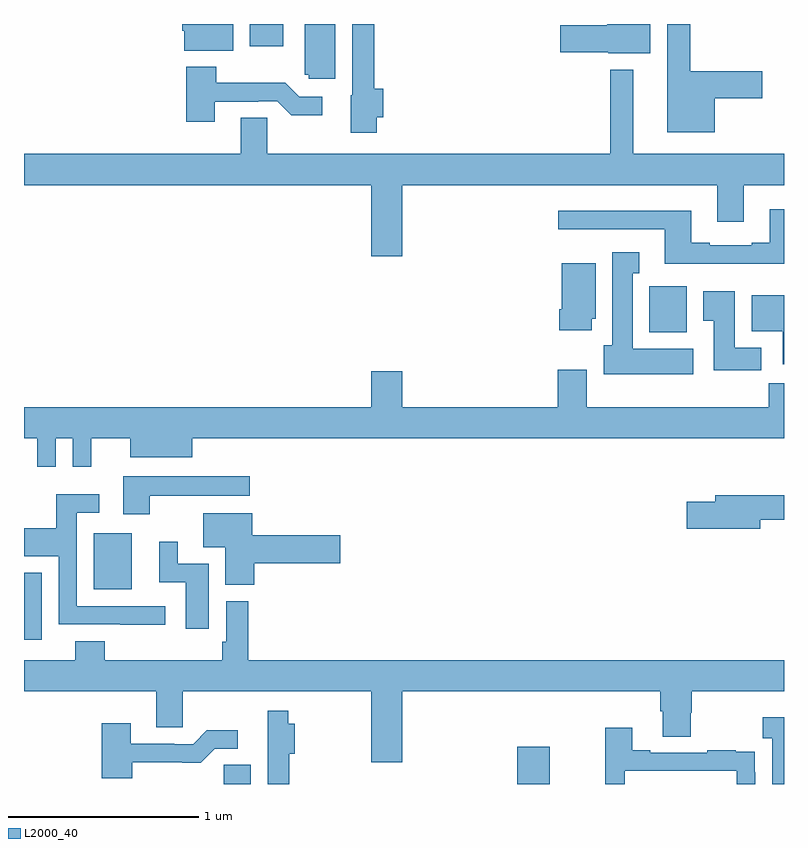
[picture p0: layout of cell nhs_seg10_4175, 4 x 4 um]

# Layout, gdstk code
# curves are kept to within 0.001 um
import gdstk
lib = gdstk.Library(unit=1e-6, precision=1e-09)
def R(c, l, rs):  # rectangles x0, y0, x1, y1
    for r in rs: c.add(gdstk.rectangle(r[:2], r[2:], *l))
def P(c, l, *ps):  # polygons
    for p in ps: c.add(gdstk.Polygon(p, *l))
L2000_40 = (2000, 40)

nhs_seg10_4175 = lib.new_cell('nhs_seg10_4175')
R(nhs_seg10_4175, L2000_40, [(344.052,1294.5,344.194,1294.601), (345.596,1294.5,345.766,1294.696), (343,1295.259,343.093,1295.611), (343.367,1295.525,343.567,1295.821), (346.292,1296.878,346.489,1297.12), (344.187,1298.384,344.365,1298.5)])
P(nhs_seg10_4175, L2000_40, [(344.638,1298.5),(344.477,1298.5),(344.477,1298.232),(344.499,1298.232),(344.499,1298.211),(344.638,1298.211)],
  [(344.102,1298.498),(343.981,1298.498),(343.981,1298.5),(343.832,1298.5),(343.832,1298.464),(343.844,1298.464),(343.844,1298.36),(344.102,1298.36)],
  [(346.297,1298.5),(346.07,1298.5),(346.07,1298.493),(345.822,1298.493),(345.822,1298.351),(346.074,1298.351),(346.074,1298.345),(346.297,1298.345)],
  [(346.636,1298.11),(346.885,1298.11),(346.885,1298.252),(346.507,1298.252),(346.507,1298.5),(346.385,1298.5),(346.385,1297.931),(346.636,1297.931)],
  [(344.856,1298.01),(344.891,1298.01),(344.891,1298.159),(344.843,1298.159),(344.843,1298.5),(344.727,1298.5),(344.727,1298.124),(344.72,1298.124),(344.72,1297.928),(344.856,1297.928)],
  [(344.005,1298.091),(344.234,1298.091),(344.234,1298.094),(344.334,1298.094),(344.407,1298.021),(344.569,1298.021),(344.569,1298.118),(344.448,1298.118),(344.375,1298.191),(344.013,1298.191),(344.013,1298.275),(343.853,1298.275),(343.853,1297.986),(344.005,1297.986)],
  [(344.828,1297.278),(344.992,1297.278),(344.992,1297.652),(346.649,1297.652),(346.649,1297.458),(346.789,1297.458),(346.789,1297.652),(347,1297.652),(347,1297.816),(346.207,1297.816),(346.207,1298.26),(346.086,1298.26),(346.086,1297.816),(344.28,1297.816),(344.28,1298.006),(344.141,1298.006),(344.141,1297.816),(343,1297.816),(343,1297.652),(344.828,1297.652)],
  [(347,1297.525),(346.925,1297.525),(346.925,1297.348),(346.829,1297.348),(346.829,1297.335),(346.609,1297.335),(346.609,1297.348),(346.513,1297.348),(346.513,1297.516),(345.813,1297.516),(345.813,1297.419),(346.373,1297.419),(346.373,1297.238),(347,1297.238)],
  [(346.522,1296.79),(346.204,1296.79),(346.204,1297.187),(346.237,1297.187),(346.237,1297.3),(346.097,1297.3),(346.097,1296.81),(346.052,1296.81),(346.052,1296.656),(346.522,1296.656)],
  [(345.988,1296.948),(346.009,1296.948),(346.009,1297.24),(345.83,1297.24),(345.83,1297),(345.818,1297),(345.818,1296.888),(345.988,1296.888)],
  [(346.88,1296.796),(346.741,1296.796),(346.741,1297.093),(346.574,1297.093),(346.574,1296.937),(346.631,1296.937),(346.631,1296.678),(346.88,1296.678)],
  [(347,1297.072),(346.829,1297.072),(346.829,1296.884),(346.994,1296.884),(346.994,1296.708),(347,1296.708)],
  [(343.167,1296.32),(343.257,1296.32),(343.257,1296.171),(343.355,1296.171),(343.355,1296.32),(343.559,1296.32),(343.559,1296.221),(343.885,1296.221),(343.885,1296.32),(347,1296.32),(347,1296.608),(346.921,1296.608),(346.921,1296.484),(345.961,1296.484),(345.961,1296.679),(345.809,1296.679),(345.809,1296.484),(344.992,1296.484),(344.992,1296.673),(344.828,1296.673),(344.828,1296.484),(343,1296.484),(343,1296.32),(343.07,1296.32),(343.07,1296.171),(343.167,1296.171)],
  [(343.663,1296.017),(344.188,1296.017),(344.188,1296.121),(343.523,1296.121),(343.523,1295.919),(343.663,1295.919)],
  [(343.744,1295.436),(343.278,1295.436),(343.278,1295.928),(343.396,1295.928),(343.396,1296.025),(343.17,1296.025),(343.17,1295.847),(343,1295.847),(343,1295.699),(343.182,1295.699),(343.182,1295.34),(343.507,1295.34),(343.507,1295.339),(343.744,1295.339)],
  [(346.876,1295.89),(347,1295.89),(347,1296.019),(346.637,1296.019),(346.637,1295.985),(346.488,1295.985),(346.488,1295.843),(346.876,1295.843)],
  [(344.213,1295.663),(344.665,1295.663),(344.665,1295.81),(344.2,1295.81),(344.2,1295.926),(343.943,1295.926),(343.943,1295.747),(344.06,1295.747),(344.06,1295.55),(344.213,1295.55)],
  [(343.972,1295.658),(343.81,1295.658),(343.81,1295.776),(343.712,1295.776),(343.712,1295.562),(343.85,1295.562),(343.85,1295.316),(343.972,1295.316)],
  [(344.992,1294.988),(346.349,1294.988),(346.349,1294.882),(346.361,1294.882),(346.361,1294.75),(346.509,1294.75),(346.509,1294.875),(346.514,1294.875),(346.514,1294.988),(347,1294.988),(347,1295.152),(344.18,1295.152),(344.18,1295.461),(344.064,1295.461),(344.064,1295.248),(344.044,1295.248),(344.044,1295.152),(343.424,1295.152),(343.424,1295.251),(343.271,1295.251),(343.271,1295.152),(343,1295.152),(343,1294.988),(343.697,1294.988),(343.697,1294.798),(343.836,1294.798),(343.836,1294.988),(344.828,1294.988),(344.828,1294.614),(344.992,1294.614)],
  [(344.395,1294.658),(344.424,1294.658),(344.424,1294.816),(344.392,1294.816),(344.392,1294.885),(344.282,1294.885),(344.282,1294.662),(344.283,1294.662),(344.283,1294.5),(344.395,1294.5)],
  [(347,1294.852),(346.887,1294.852),(346.887,1294.742),(346.938,1294.742),(346.938,1294.5),(347,1294.5)],
  [(343.569,1294.614),(343.931,1294.613),(344.004,1294.686),(344.125,1294.686),(344.125,1294.783),(343.963,1294.783),(343.89,1294.71),(343.79,1294.71),(343.79,1294.713),(343.561,1294.713),(343.561,1294.819),(343.409,1294.819),(343.409,1294.529),(343.569,1294.529)],
  [(346.161,1294.569),(346.752,1294.569),(346.752,1294.5),(346.848,1294.5),(346.848,1294.562),(346.847,1294.562),(346.847,1294.671),(346.745,1294.671),(346.745,1294.678),(346.597,1294.678),(346.597,1294.665),(346.297,1294.665),(346.297,1294.678),(346.201,1294.678),(346.201,1294.795),(346.06,1294.795),(346.06,1294.5),(346.161,1294.5)])

lib.write_gds('nhs_seg10_4175.gds')
